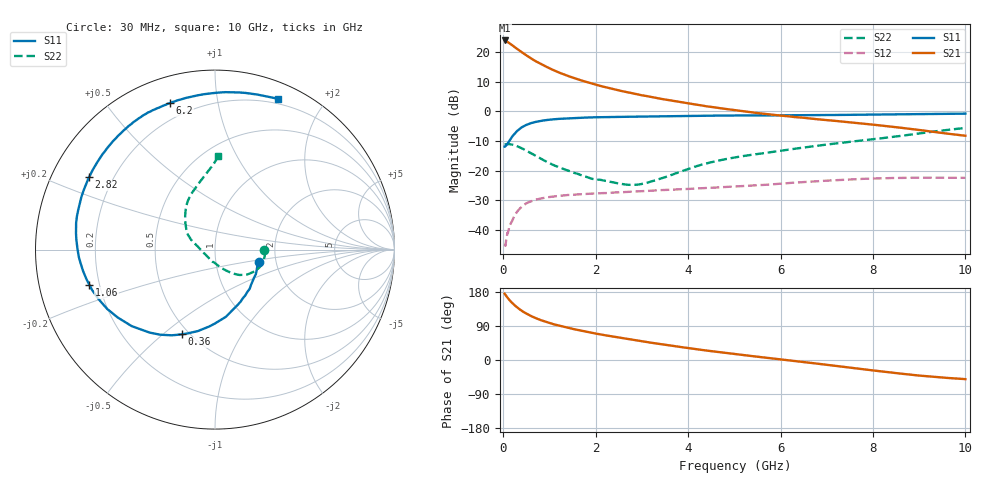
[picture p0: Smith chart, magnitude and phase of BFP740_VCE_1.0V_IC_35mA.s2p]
! Infineon Technologies  Discrete & RF Semiconductors
! BFP740
! VCE =  1.0 V,  IC =  35 mA
! Common Emitter S-Parameters:  Jan 2016
# GHz  S  MA  R  50
!  f  S11  S21  S12  S22
! GHz  MAG  ANG  MAG  ANG  MAG  ANG  MAG  ANG
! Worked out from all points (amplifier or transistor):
!   229 points, 30 MHz to 10 GHz, reference 50 ohm
!   highest |S21| = 23.9 dB at 30 MHz (marker M1)
!   |S21| within 3 dB of that: start of sweep to 314.3 MHz
!   unconditionally stable (mu >= 1): start of sweep to end of sweep
!   at 280 MHz: K = 1.71, MAG = 22.9 dB, |S12| = -34.3 dB
!   at 1.78 GHz: K = 1.53, MAG = 14.7 dB, |S12| = -27.9 dB
!   at 10 GHz: K = 2.50, MAG = 0.3 dB, |S12| = -22.5 dB
!   S11 on the Smith chart (normalised r, x): 30 MHz: 1.62, -0.24; 360 MHz: 0.46, -0.58; 1.06 GHz: 0.16, -0.13; 2.82 GHz: 0.11, +0.26; 6.2 GHz: 0.12, +0.73; 10 GHz: 0.15, +1.49
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0.03  0.2524 -16.1  15.62 175.0  0.0053 27.5  0.2751 -1.0
0.06  0.2656 -31.0  15.13 169.7  0.0065 30.2  0.2778 -4.0
0.12  0.306 -56.5  14.37 160.3  0.0101 48.7  0.2783 -9.3
0.19  0.3681 -78.3  13.09 150.9  0.014 51.7  0.2742 -16.2
0.26  0.43 -94.4  11.87 143.0  0.0183 50.9  0.2653 -22.6
0.36  0.5076 -111.5  10.43 133.3  0.0229 46.2  0.2454 -30.9
0.4  0.5354 -116.9  9.861 129.8  0.0245 44.8  0.2369 -34.0
0.5  0.5885 -128.2  8.76 122.4  0.028 40.3  0.2166 -40.4
0.6  0.6301 -137.4  7.794 116.0  0.0303 36.7  0.1961 -46.1
0.7  0.661 -145.1  6.976 110.5  0.0322 33.7  0.1772 -50.5
0.9  0.7048 -156.9  5.794 101.4  0.0348 28.9  0.1459 -58.1
1.06  0.7275 -164.4  5.045 95.5  0.0362 26.3  0.1266 -63.6
1.3  0.7511 -173.5  4.227 87.7  0.0378 23.3  0.106 -71.4
1.7  0.7777 174.4  3.29 77.0  0.0399 20.3  0.0824 -83.8
2.14  0.7933 163.9  2.628 66.7  0.0415 18.3  0.0687 -102.4
2.82  0.8091 150.1  1.99 52.8  0.0441 16.5  0.0574 -139.0
3.4  0.8216 139.8  1.626 41.9  0.0467 15.2  0.0731 -173.1
5.1  0.8483 117.1  1.021 14.4  0.0542 11.6  0.1708 151.5
6.2  0.8538 107.0  0.817 -1.0  0.0616 8.6  0.2265 136.9
6.8  0.8605 100.7  0.732 -9.7  0.066 5.2  0.2617 129.1
8.4  0.8857 81.3  0.549 -33.1  0.0747 -6.9  0.3667 106.3
10  0.9107 67.2  0.386 -50.5  0.0753 -16.9  0.5224 87.9
